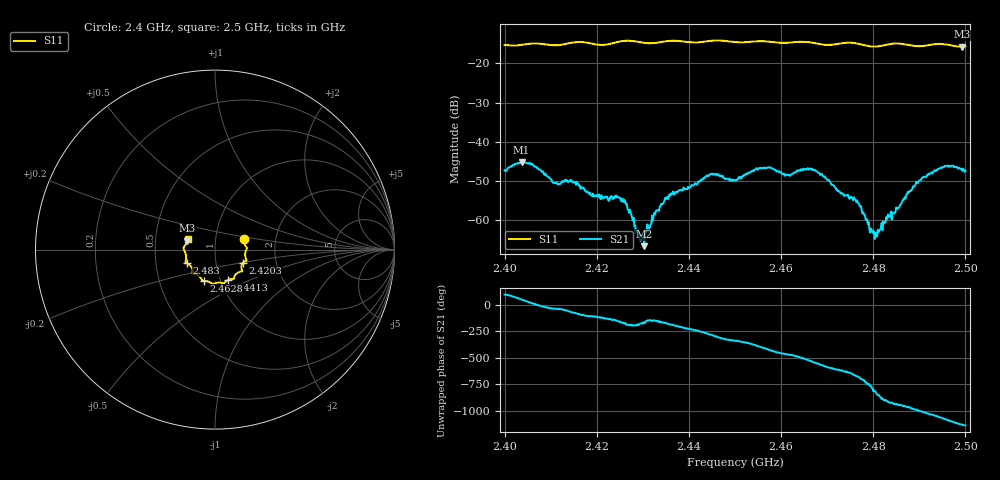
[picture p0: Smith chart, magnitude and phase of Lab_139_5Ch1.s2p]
# Hz S RI R 50
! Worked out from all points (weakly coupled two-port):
!   601 points, 2.4 GHz to 2.5 GHz, reference 50 ohm
!   highest |S21| = -45.14 dB at 2.4037 GHz (marker M1); lowest = -66.5 dB at 2.4303 GHz (marker M2)
!   lowest |S11| = -15.8 dB at 2.4993 GHz (marker M3), VSWR 1.39, Z = 36.5 + j3.72 ohm
!   |S11| at or under -10 dB: start of sweep to end of sweep
!   S12 and S22 are empty: the file has one direction only
!   S11 on the Smith chart (normalised r, x): 2.4 GHz: 1.37, +0.16; 2.4203 GHz: 1.35, -0.21; 2.4413 GHz: 1.09, -0.38; 2.4628 GHz: 0.83, -0.30; 2.483 GHz: 0.72, -0.11; 2.5 GHz: 0.73, +0.09
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2.4e9  0.1611 0.057  -0.000368 0.00433  0 0  0 0
2.403667e9  0.1704 0.0201  0.00371 0.00411  0 0  0 0
2.416667e9  0.176 -0.0616  -0.000382 -0.00262  0 0  0 0
2.420333e9  0.1553 -0.0743  -0.000953 -0.00175  0 0  0 0
2.426e9  0.1515 -0.1192  -0.00183 -0.000103  0 0  0 0
2.429e9  0.1412 -0.1233  -0.000629 0.000161  0 0  0 0
2.430333e9  0.1295 -0.1276  -0.000469 -4.46e-05  0 0  0 0
2.433333e9  0.1081 -0.1484  -0.00123 -0.000559  0 0  0 0
2.441333e9  0.0745 -0.1681  -0.00141 0.00263  0 0  0 0
2.445e9  0.0524 -0.1865  0.0011 0.0038  0 0  0 0
2.45e9  0.0291 -0.1839  0.00305 0.000995  0 0  0 0
2.455667e9  -0.0107 -0.1907  0.00346 -0.00313  0 0  0 0
2.462833e9  -0.063 -0.1746  -0.00214 -0.00346  0 0  0 0
2.466667e9  -0.0743 -0.1673  -0.00439 -0.000191  0 0  0 0
2.476333e9  -0.1251 -0.1284  0.00122 0.00121  0 0  0 0
2.480333e9  -0.1337 -0.0932  -5.48e-05 -0.000579  0 0  0 0
2.483e9  -0.1547 -0.0766  -0.00103 0.000169  0 0  0 0
2.483333e9  -0.157 -0.0757  -0.00106 0.000359  0 0  0 0
2.490667e9  -0.1643 -0.0208  0.00132 0.00323  0 0  0 0
2.495667e9  -0.1735 0.0147  0.0049 -0.00026  0 0  0 0
2.499333e9  -0.1543 0.0496  0.00246 -0.00351  0 0  0 0
2.5e9  -0.1526 0.0586  0.00208 -0.00374  0 0  0 0
